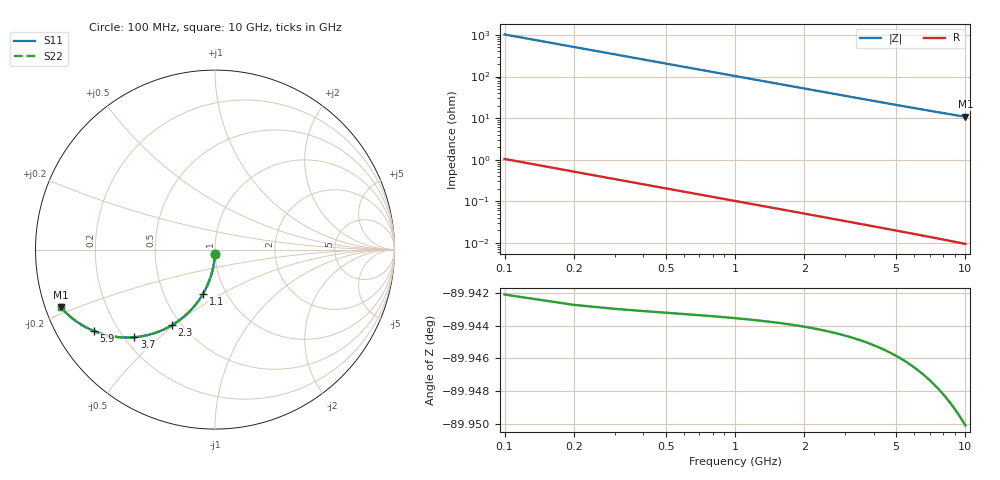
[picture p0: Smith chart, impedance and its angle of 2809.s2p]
# Hz S RI R 50.00
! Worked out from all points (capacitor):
!   100 points, 100 MHz to 10 GHz, reference 50 ohm
!   read as one part in shunt: C = 1.55 pF near 100 MHz
!   lowest |Z| = 10.7 ohm at 10 GHz (marker M1)
!   S11 on the Smith chart (normalised r, x): 100 MHz: 1.00, -0.05; 1.1 GHz: 0.78, -0.41; 2.3 GHz: 0.45, -0.49; 3.7 GHz: 0.24, -0.42; 5.9 GHz: 0.11, -0.30; 10 GHz: 0.04, -0.18
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1e8  -0.000575 -0.0241  0.9993 -0.0246  0.9993 -0.0246  -0.000575 -0.0241
2e8  -0.00237 -0.0481  0.9975 -0.049  0.9975 -0.049  -0.00237 -0.0481
3e8  -0.00534 -0.0719  0.9946 -0.0734  0.9946 -0.0734  -0.00534 -0.0719
4e8  -0.00945 -0.0955  0.9905 -0.0974  0.9905 -0.0974  -0.00945 -0.0955
5e8  -0.0147 -0.1188  0.9852 -0.1211  0.9852 -0.1211  -0.0147 -0.1188
6e8  -0.021 -0.1416  0.9789 -0.1444  0.9789 -0.1444  -0.021 -0.1416
7e8  -0.0283 -0.1639  0.9716 -0.1672  0.9716 -0.1672  -0.0283 -0.1639
9e8  -0.046 -0.2069  0.9539 -0.2111  0.9539 -0.2111  -0.046 -0.2069
1.1e9  -0.0671 -0.2472  0.9328 -0.2524  0.9328 -0.2524  -0.0671 -0.2472
1.4e9  -0.1043 -0.302  0.8956 -0.3086  0.8956 -0.3086  -0.1043 -0.302
1.8e9  -0.1614 -0.3632  0.8384 -0.3717  0.8384 -0.3717  -0.1614 -0.3632
2.3e9  -0.2391 -0.4207  0.7607 -0.4315  0.7607 -0.4315  -0.2391 -0.4207
2.8e9  -0.3178 -0.4585  0.682 -0.4718  0.682 -0.4718  -0.3178 -0.4585
3.4e9  -0.4074 -0.4828  0.5924 -0.499  0.5924 -0.499  -0.4074 -0.4828
3.7e9  -0.4489 -0.4881  0.5509 -0.5057  0.5509 -0.5057  -0.4489 -0.4881
4.4e9  -0.5356 -0.4877  0.4641 -0.5088  0.4641 -0.5088  -0.5356 -0.4877
5.1e9  -0.6081 -0.4753  0.3915 -0.4999  0.3915 -0.4999  -0.6081 -0.4753
5.9e9  -0.6754 -0.4533  0.3241 -0.4819  0.3241 -0.4819  -0.6754 -0.4533
6.7e9  -0.729 -0.4275  0.2704 -0.4601  0.2704 -0.4601  -0.729 -0.4275
7.5e9  -0.7717 -0.4006  0.2275 -0.4374  0.2275 -0.4374  -0.7717 -0.4006
8.4e9  -0.8097 -0.3709  0.1893 -0.4124  0.1893 -0.4124  -0.8097 -0.3709
1e10  -0.8586 -0.3221  0.14 -0.3722  0.14 -0.3722  -0.8586 -0.3221
